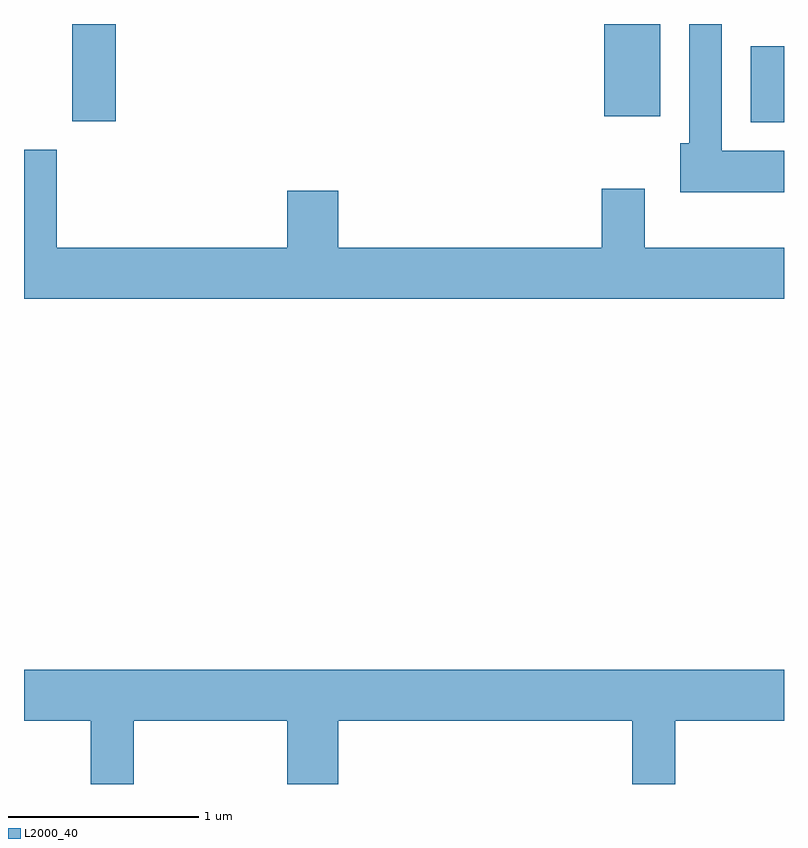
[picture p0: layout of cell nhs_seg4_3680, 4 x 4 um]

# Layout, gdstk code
import gdstk
lib = gdstk.Library(unit=1e-6, precision=1e-09)
def R(c, l, rs):  # rectangles x0, y0, x1, y1
    for r in rs: c.add(gdstk.rectangle(r[:2], r[2:], *l))
def P(c, l, *ps):  # polygons
    for p in ps: c.add(gdstk.Polygon(p, *l))
L2000_40 = (2000, 40)

nhs_seg4_3680 = lib.new_cell('nhs_seg4_3680')
R(nhs_seg4_3680, L2000_40, [(297.436,1273.466,297.611,1273.864), (293.866,1273.471,294.094,1273.982), (296.666,1273.496,296.959,1273.982)])
P(nhs_seg4_3680, L2000_40, [(297.611,1273.314),(297.284,1273.314),(297.284,1273.982),(297.111,1273.982),(297.111,1273.354),(297.066,1273.354),(297.066,1273.096),(297.611,1273.096)],
  [(297.611,1272.804),(296.879,1272.804),(296.879,1273.114),(296.651,1273.114),(296.651,1272.804),(295.264,1272.804),(295.264,1273.104),(294.996,1273.104),(294.996,1272.804),(293.784,1272.804),(293.784,1273.319),(293.611,1273.319),(293.611,1272.536),(297.611,1272.536)],
  [(294.189,1270.316),(294.996,1270.316),(294.996,1269.982),(295.264,1269.982),(295.264,1270.316),(296.811,1270.316),(296.811,1269.982),(297.039,1269.982),(297.039,1270.316),(297.611,1270.316),(297.611,1270.584),(293.611,1270.584),(293.611,1270.316),(293.961,1270.316),(293.961,1269.982),(294.189,1269.982)])

lib.write_gds('nhs_seg4_3680.gds')
